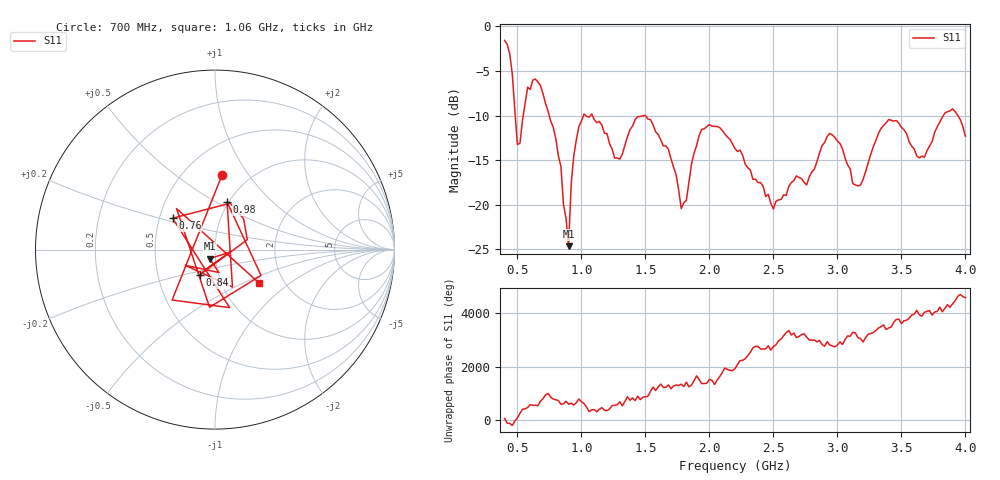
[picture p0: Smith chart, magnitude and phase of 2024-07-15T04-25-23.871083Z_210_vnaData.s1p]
!Created with skrf (http://scikit-rf.org).
# Hz S RI R 50.0
!freq ReS11 ImS11
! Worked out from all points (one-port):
!   181 points, 400 MHz to 4 GHz, reference 50 ohm
!   lowest |S11| = -24.6 dB at 900 MHz (marker M1), VSWR 1.12, Z = 46.9 - j4.74 ohm
!   |S11| at or under -10 dB: 748.5 MHz to 1.016 GHz (267.3 MHz wide, 30.3 % of centre); 1.086 GHz to 1.494 GHz (408.2 MHz wide, 31.7 % of centre); 1.501 GHz to 3.828 GHz (2.327 GHz wide, 87.3 % of centre) (the widest 3 of 6)
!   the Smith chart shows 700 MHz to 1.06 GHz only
!   S11 on the Smith chart (normalised r, x): 700 MHz: 0.75, +0.76; 760 MHz: 0.59, +0.22; 840 MHz: 0.81, -0.23; 980 MHz: 0.98, +0.56; 1.06 GHz: 1.50, -0.62
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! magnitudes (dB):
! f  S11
! 400 MHz  -1.6
! 460 MHz  -5.4
! 500 MHz  -13.2
! 580 MHz  -6.8
! 700 MHz  -7.6
! 760 MHz  -10.6
! 840 MHz  -15.7
! 860 MHz  -20.0
! 900 MHz  -24.6
! 920 MHz  -17.7
! 980 MHz  -11.2
! 1.06 GHz  -10.2
! 1.3 GHz  -14.9
! 1.5 GHz  -10.0
! 1.76 GHz  -18.4
! 1.82 GHz  -19.5
! 1.94 GHz  -11.5
! 2.2 GHz  -13.7
! 2.5 GHz  -20.5
! 2.66 GHz  -17.3
! 2.94 GHz  -12.0
! 3.1 GHz  -16.0
! 3.18 GHz  -17.8
! 3.4 GHz  -10.5
! 3.56 GHz  -12.9
! 3.68 GHz  -14.7
! 3.9 GHz  -9.3
! 4 GHz  -12.3
